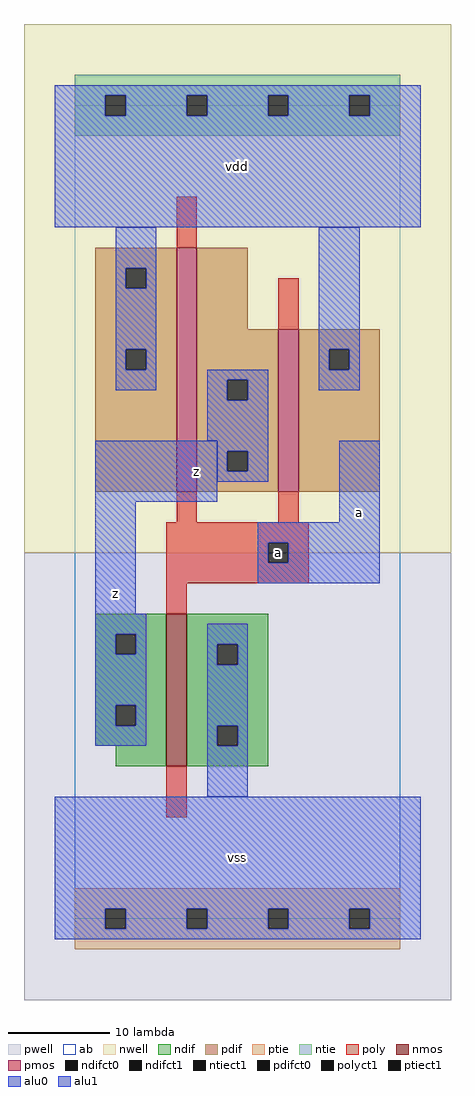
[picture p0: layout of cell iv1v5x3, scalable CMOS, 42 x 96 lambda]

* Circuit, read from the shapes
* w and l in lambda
.subckt iv1v5x3 a vdd vss z
M1 vss a z vss nfet w=15 l=2
M2 z a vdd vdd pfet w=24 l=2
M3 vdd a z vdd pfet w=16 l=2
.ends

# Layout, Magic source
magic
tech scmos
<< ab >>
rect 0 0 32 80
<< nwell >>
rect -5 36 37 88
<< pwell >>
rect -5 -8 37 36
<< poly >>
rect 10 66 12 71
rect 20 58 22 63
rect 10 39 12 42
rect 20 39 22 42
rect 9 37 23 39
rect 9 35 19 37
rect 21 35 23 37
rect 9 33 23 35
rect 9 30 11 33
rect 9 10 11 15
<< ndif >>
rect 2 28 9 30
rect 2 26 4 28
rect 6 26 9 28
rect 2 21 9 26
rect 2 19 4 21
rect 6 19 9 21
rect 2 17 9 19
rect 4 15 9 17
rect 11 27 19 30
rect 11 25 14 27
rect 16 25 19 27
rect 11 19 19 25
rect 11 17 14 19
rect 16 17 19 19
rect 11 15 19 17
<< pdif >>
rect 2 64 10 66
rect 2 62 5 64
rect 7 62 10 64
rect 2 56 10 62
rect 2 54 5 56
rect 7 54 10 56
rect 2 42 10 54
rect 12 58 17 66
rect 12 53 20 58
rect 12 51 15 53
rect 17 51 20 53
rect 12 46 20 51
rect 12 44 15 46
rect 17 44 20 46
rect 12 42 20 44
rect 22 56 30 58
rect 22 54 25 56
rect 27 54 30 56
rect 22 42 30 54
<< alu1 >>
rect -2 81 34 82
rect -2 79 3 81
rect 5 79 11 81
rect 13 79 19 81
rect 21 79 27 81
rect 29 79 34 81
rect -2 68 34 79
rect 2 41 14 47
rect 2 30 6 41
rect 26 39 30 47
rect 18 37 30 39
rect 18 35 19 37
rect 21 35 30 37
rect 18 33 30 35
rect 2 28 7 30
rect 2 26 4 28
rect 6 26 7 28
rect 2 21 7 26
rect 2 19 4 21
rect 6 19 7 21
rect 2 17 7 19
rect -2 1 34 12
rect -2 -1 3 1
rect 5 -1 11 1
rect 13 -1 19 1
rect 21 -1 27 1
rect 29 -1 34 1
rect -2 -2 34 -1
<< ptie >>
rect 0 1 32 3
rect 0 -1 3 1
rect 5 -1 11 1
rect 13 -1 19 1
rect 21 -1 27 1
rect 29 -1 32 1
rect 0 -3 32 -1
<< ntie >>
rect 0 81 32 83
rect 0 79 3 81
rect 5 79 11 81
rect 13 79 19 81
rect 21 79 27 81
rect 29 79 32 81
rect 0 77 32 79
<< nmos >>
rect 9 15 11 30
<< pmos >>
rect 10 42 12 66
rect 20 42 22 58
<< polyct1 >>
rect 19 35 21 37
<< ndifct0 >>
rect 14 25 16 27
rect 14 17 16 19
<< ndifct1 >>
rect 4 26 6 28
rect 4 19 6 21
<< ntiect1 >>
rect 3 79 5 81
rect 11 79 13 81
rect 19 79 21 81
rect 27 79 29 81
<< ptiect1 >>
rect 3 -1 5 1
rect 11 -1 13 1
rect 19 -1 21 1
rect 27 -1 29 1
<< pdifct0 >>
rect 5 62 7 64
rect 5 54 7 56
rect 15 51 17 53
rect 15 44 17 46
rect 25 54 27 56
<< alu0 >>
rect 4 64 8 68
rect 4 62 5 64
rect 7 62 8 64
rect 4 56 8 62
rect 4 54 5 56
rect 7 54 8 56
rect 24 56 28 68
rect 24 54 25 56
rect 27 54 28 56
rect 4 52 8 54
rect 13 53 19 54
rect 13 51 15 53
rect 17 51 19 53
rect 24 52 28 54
rect 13 47 19 51
rect 14 46 19 47
rect 14 44 15 46
rect 17 44 19 46
rect 14 43 19 44
rect 13 27 17 29
rect 13 25 14 27
rect 16 25 17 27
rect 13 19 17 25
rect 13 17 14 19
rect 16 17 17 19
rect 13 12 17 17
<< labels >>
rlabel alu1 4 32 4 32 6 z
rlabel alu1 16 6 16 6 6 vss
rlabel alu1 12 44 12 44 6 z
rlabel alu1 16 74 16 74 6 vdd
rlabel polyct1 20 36 20 36 6 a
rlabel alu1 28 40 28 40 6 a
<< end >>
